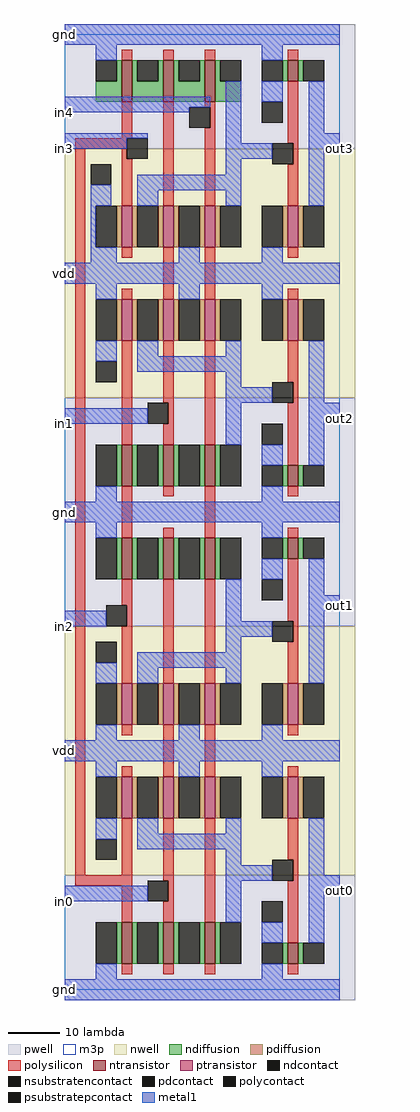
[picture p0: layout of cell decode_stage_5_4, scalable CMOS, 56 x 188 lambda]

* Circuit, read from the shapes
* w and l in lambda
.subckt decode_stage_5_4 gnd in0 in1 in2 in3 in4 out0 out1 out2 out3 vdd
M1 n1 in3 gnd gnd nfet w=8 l=2
M2 n2 in2 gnd gnd nfet w=8 l=2
M3 n3 in2 gnd gnd nfet w=8 l=2
M4 n4 in3 gnd gnd nfet w=8 l=2
M5 n5 in0 n1 gnd nfet w=8 l=2
M6 n6 in0 n2 gnd nfet w=8 l=2
M7 n7 in1 n3 gnd nfet w=8 l=2
M8 n8 in1 n4 gnd nfet w=8 l=2
M9 n9 in4 n5 gnd nfet w=8 l=2
M10 n10 in4 n6 gnd nfet w=8 l=2
M11 n11 in4 n7 gnd nfet w=8 l=2
M12 n12 in4 n8 gnd nfet w=8 l=2
M13 out0 n9 gnd gnd nfet w=4 l=2
M14 out1 n10 gnd gnd nfet w=4 l=2
M15 out2 n11 gnd gnd nfet w=4 l=2
M16 out3 n12 gnd gnd nfet w=4 l=2
M17 n9 in3 vdd vdd pfet w=8 l=2
M18 n10 in2 vdd vdd pfet w=8 l=2
M19 n11 in2 vdd vdd pfet w=8 l=2
M20 n12 in3 vdd vdd pfet w=8 l=2
M21 vdd in0 n9 vdd pfet w=8 l=2
M22 vdd in0 n10 vdd pfet w=8 l=2
M23 vdd in1 n11 vdd pfet w=8 l=2
M24 vdd in1 n12 vdd pfet w=8 l=2
M25 n9 in4 vdd vdd pfet w=8 l=2
M26 n10 in4 vdd vdd pfet w=8 l=2
M27 n11 in4 vdd vdd pfet w=8 l=2
M28 n12 in4 vdd vdd pfet w=8 l=2
M29 out0 n9 vdd vdd pfet w=8 l=2
M30 out1 n10 vdd vdd pfet w=8 l=2
M31 out2 n11 vdd vdd pfet w=8 l=2
M32 out3 n12 vdd vdd pfet w=8 l=2
.ends

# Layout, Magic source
magic
tech scmos
<< nwell >>
rect 0 114 56 162
rect 0 22 56 70
<< pwell >>
rect 0 162 56 186
rect 0 70 56 114
rect 0 -2 56 22
<< ntransistor >>
rect 11 171 13 179
rect 19 171 21 179
rect 27 171 29 179
rect 43 175 45 179
rect 11 97 13 105
rect 19 97 21 105
rect 27 97 29 105
rect 43 97 45 101
rect 11 79 13 87
rect 19 79 21 87
rect 27 79 29 87
rect 43 83 45 87
rect 11 5 13 13
rect 19 5 21 13
rect 27 5 29 13
rect 43 5 45 9
<< ptransistor >>
rect 11 143 13 151
rect 19 143 21 151
rect 27 143 29 151
rect 43 143 45 151
rect 11 125 13 133
rect 19 125 21 133
rect 27 125 29 133
rect 43 125 45 133
rect 11 51 13 59
rect 19 51 21 59
rect 27 51 29 59
rect 43 51 45 59
rect 11 33 13 41
rect 19 33 21 41
rect 27 33 29 41
rect 43 33 45 41
<< ndiffusion >>
rect 10 175 11 179
rect 6 171 11 175
rect 13 175 14 179
rect 18 175 19 179
rect 13 171 19 175
rect 21 175 22 179
rect 26 175 27 179
rect 21 171 27 175
rect 29 175 30 179
rect 42 175 43 179
rect 45 175 46 179
rect 29 171 34 175
rect 10 97 11 105
rect 13 97 14 105
rect 18 97 19 105
rect 21 97 22 105
rect 26 97 27 105
rect 29 97 30 105
rect 42 97 43 101
rect 45 97 46 101
rect 10 79 11 87
rect 13 79 14 87
rect 18 79 19 87
rect 21 79 22 87
rect 26 79 27 87
rect 29 79 30 87
rect 42 83 43 87
rect 45 83 46 87
rect 10 5 11 13
rect 13 5 14 13
rect 18 5 19 13
rect 21 5 22 13
rect 26 5 27 13
rect 29 5 30 13
rect 42 5 43 9
rect 45 5 46 9
<< pdiffusion >>
rect 10 143 11 151
rect 13 143 14 151
rect 18 143 19 151
rect 21 143 22 151
rect 26 143 27 151
rect 29 143 30 151
rect 42 143 43 151
rect 45 143 46 151
rect 10 125 11 133
rect 13 125 14 133
rect 18 125 19 133
rect 21 125 22 133
rect 26 125 27 133
rect 29 125 30 133
rect 42 125 43 133
rect 45 125 46 133
rect 10 51 11 59
rect 13 51 14 59
rect 18 51 19 59
rect 21 51 22 59
rect 26 51 27 59
rect 29 51 30 59
rect 42 51 43 59
rect 45 51 46 59
rect 10 33 11 41
rect 13 33 14 41
rect 18 33 19 41
rect 21 33 22 41
rect 26 33 27 41
rect 29 33 30 41
rect 42 33 43 41
rect 45 33 46 41
<< ndcontact >>
rect 6 175 10 179
rect 14 175 18 179
rect 22 175 26 179
rect 30 175 34 179
rect 38 175 42 179
rect 46 175 50 179
rect 6 97 10 105
rect 14 97 18 105
rect 22 97 26 105
rect 30 97 34 105
rect 38 97 42 101
rect 46 97 50 101
rect 6 79 10 87
rect 14 79 18 87
rect 22 79 26 87
rect 30 79 34 87
rect 38 83 42 87
rect 46 83 50 87
rect 6 5 10 13
rect 14 5 18 13
rect 22 5 26 13
rect 30 5 34 13
rect 38 5 42 9
rect 46 5 50 9
<< pdcontact >>
rect 6 143 10 151
rect 14 143 18 151
rect 22 143 26 151
rect 30 143 34 151
rect 38 143 42 151
rect 46 143 50 151
rect 6 125 10 133
rect 14 125 18 133
rect 22 125 26 133
rect 30 125 34 133
rect 38 125 42 133
rect 46 125 50 133
rect 6 51 10 59
rect 14 51 18 59
rect 22 51 26 59
rect 30 51 34 59
rect 38 51 42 59
rect 46 51 50 59
rect 6 33 10 41
rect 14 33 18 41
rect 22 33 26 41
rect 30 33 34 41
rect 38 33 42 41
rect 46 33 50 41
<< psubstratepcontact >>
rect 38 167 42 171
rect 38 105 42 109
rect 38 75 42 79
rect 38 13 42 17
<< nsubstratencontact >>
rect 5 155 9 159
rect 6 117 10 121
rect 6 63 10 67
rect 6 25 10 29
<< polysilicon >>
rect 11 179 13 181
rect 19 179 21 181
rect 27 179 29 181
rect 43 179 45 181
rect 11 164 13 171
rect 2 162 12 164
rect 2 22 4 162
rect 11 160 12 162
rect 11 151 13 160
rect 19 151 21 171
rect 27 170 29 171
rect 28 166 29 170
rect 27 151 29 166
rect 43 163 45 175
rect 44 159 45 163
rect 43 151 45 159
rect 11 141 13 143
rect 11 133 13 135
rect 19 133 21 143
rect 27 133 29 143
rect 43 141 45 143
rect 43 133 45 135
rect 11 105 13 125
rect 19 113 21 125
rect 20 109 21 113
rect 19 105 21 109
rect 27 105 29 125
rect 43 117 45 125
rect 44 113 45 117
rect 43 101 45 113
rect 11 87 13 97
rect 19 95 21 97
rect 19 87 21 89
rect 27 87 29 97
rect 43 95 45 97
rect 43 87 45 89
rect 11 74 13 79
rect 12 70 13 74
rect 11 59 13 70
rect 19 59 21 79
rect 27 59 29 79
rect 43 71 45 83
rect 44 67 45 71
rect 43 59 45 67
rect 11 49 13 51
rect 11 41 13 43
rect 19 41 21 51
rect 27 41 29 51
rect 43 49 45 51
rect 43 41 45 43
rect 11 22 13 33
rect 2 20 13 22
rect 19 21 21 33
rect 11 13 13 20
rect 20 17 21 21
rect 19 13 21 17
rect 27 13 29 33
rect 43 25 45 33
rect 44 21 45 25
rect 43 9 45 21
rect 11 3 13 5
rect 19 3 21 5
rect 27 3 29 5
rect 43 3 45 5
<< polycontact >>
rect 12 160 16 164
rect 24 166 28 170
rect 40 159 44 163
rect 16 109 20 113
rect 40 113 44 117
rect 8 70 12 74
rect 40 67 44 71
rect 16 17 20 21
rect 40 21 44 25
<< metal1 >>
rect 0 182 53 186
rect 6 179 10 182
rect 38 179 42 182
rect 0 170 28 172
rect 0 169 24 170
rect 0 164 16 165
rect 0 162 12 164
rect 31 163 34 175
rect 38 171 42 175
rect 47 165 50 175
rect 31 160 40 163
rect 31 157 34 160
rect 47 162 53 165
rect 5 151 9 155
rect 14 154 34 157
rect 14 151 18 154
rect 31 151 34 154
rect 47 151 50 162
rect 5 143 6 151
rect 5 140 10 143
rect 22 140 26 143
rect 38 140 42 143
rect 0 136 53 140
rect 6 133 10 136
rect 22 133 26 136
rect 38 133 42 136
rect 6 121 10 125
rect 14 122 18 125
rect 31 122 34 125
rect 14 119 34 122
rect 31 116 34 119
rect 31 113 40 116
rect 47 113 50 125
rect 0 109 16 112
rect 31 105 34 113
rect 47 110 53 113
rect 38 101 42 105
rect 47 101 50 110
rect 6 94 10 97
rect 38 94 42 97
rect 0 90 53 94
rect 6 87 10 90
rect 38 87 42 90
rect 0 70 8 73
rect 31 71 34 79
rect 38 79 42 83
rect 47 76 50 83
rect 47 73 53 76
rect 31 68 40 71
rect 31 65 34 68
rect 6 59 10 63
rect 14 62 34 65
rect 14 59 18 62
rect 31 59 34 62
rect 47 59 50 73
rect 6 48 10 51
rect 22 48 26 51
rect 38 48 42 51
rect 0 44 53 48
rect 6 41 10 44
rect 22 41 26 44
rect 38 41 42 44
rect 6 29 10 33
rect 14 30 18 33
rect 31 30 34 33
rect 14 27 34 30
rect 31 24 34 27
rect 31 21 40 24
rect 47 22 50 33
rect 0 17 16 20
rect 31 13 34 21
rect 47 19 53 22
rect 38 9 42 13
rect 47 9 50 19
rect 6 2 10 5
rect 38 2 42 5
rect 0 -2 53 2
<< m3p >>
rect 0 0 53 184
<< labels >>
rlabel metal1 0 17 0 17 3 in0
rlabel metal1 0 0 0 0 2 gnd
rlabel metal1 0 46 0 46 3 vdd
rlabel metal1 0 138 0 138 3 vdd
rlabel metal1 0 92 0 92 3 gnd
rlabel metal1 0 184 0 184 4 gnd
rlabel metal1 0 162 0 162 3 in3
rlabel metal1 0 169 0 169 3 in4
rlabel metal1 53 162 53 162 7 out3
rlabel metal1 53 110 53 110 7 out2
rlabel metal1 53 74 53 74 7 out1
rlabel metal1 53 19 53 19 7 out0
rlabel metal1 0 70 0 70 3 in2
rlabel metal1 0 109 0 109 3 in1
<< end >>
